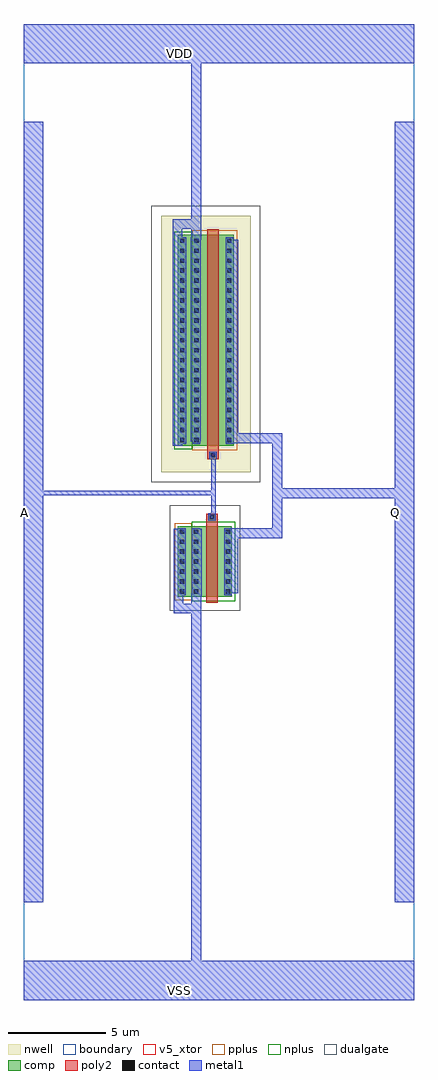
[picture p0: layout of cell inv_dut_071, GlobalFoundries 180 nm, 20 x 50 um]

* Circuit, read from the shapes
.subckt inv_dut_071 A Q VDD VSS
XM1 Q A VSS VSS nfet_05v0 w=3.6u l=0.6u
XM2 Q A VDD VDD pfet_05v0 w=10.8u l=0.6u
.ends

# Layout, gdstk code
from math import pi, radians
import gdstk
lib = gdstk.Library(unit=1e-6, precision=1e-09)
def R(c, l, rs):  # rectangles x0, y0, x1, y1
    for r in rs: c.add(gdstk.rectangle(r[:2], r[2:], *l))
def A(c, l, x, y, w, h, nx, ny, dx, dy):  # array of equal rectangles
    R(c, l, [(x+i*dx, y+j*dy, x+i*dx+w, y+j*dy+h) for i in range(nx) for j in range(ny)])
boundary = (0, 0)
nwell = (21, 0)
comp = (22, 0)
poly2 = (30, 0)
pplus = (31, 0)
nplus = (32, 0)
contact = (33, 0)
metal1 = (34, 0)
dualgate = (55, 0)
v5_xtor = (112, 1)

nfet = lib.new_cell('nfet')
R(nfet, comp, [(-0.42,0,2.35,3.6)])
R(nfet, poly2, [(0.31,-0.3,0.91,4.26)])
R(nfet, pplus, [(1.64,-0.17,2.52,3.77)])
R(nfet, nplus, [(-0.59,-0.24,1.64,3.84)])
A(nfet, contact, -0.32, 0.16, 0.22, 0.22, 1, 7, 0, 0.51)
A(nfet, contact, 1.32, 0.16, 0.22, 0.22, 1, 7, 0, 0.51)
A(nfet, contact, 2.03, 0.16, 0.22, 0.22, 1, 7, 0, 0.51)
R(nfet, contact, [(0.5,3.97,0.72,4.19)])
R(nfet, metal1, [(-0.4,0.08,-0.02,3.52), (1.24,0.08,1.62,3.52), (1.95,0.08,2.33,3.52), (0.42,3.89,0.8,4.27)])
R(nfet, dualgate, [(-0.84,-0.71,2.77,4.68)])
R(nfet, v5_xtor, [(-0.84,-0.71,2.77,4.68)])

pfet = lib.new_cell('pfet')
R(pfet, nwell, [(-1.32,-0.99,3.27,12.17)])
R(pfet, comp, [(-0.46,0,2.41,10.8)])
R(pfet, poly2, [(0.31,-0.3,0.91,11.48)])
R(pfet, pplus, [(-0.63,-0.24,1.68,11.04)])
R(pfet, nplus, [(1.68,-0.17,2.58,10.97)])
A(pfet, contact, -0.34, 0.19, 0.22, 0.22, 1, 21, 0, 0.51)
A(pfet, contact, 1.34, 0.19, 0.22, 0.22, 1, 21, 0, 0.51)
A(pfet, contact, 2.07, 0.19, 0.22, 0.22, 1, 21, 0, 0.51)
R(pfet, contact, [(0.5,11.18,0.72,11.4)])
R(pfet, metal1, [(-0.42,0.11,-0.04,10.69), (1.26,0.11,1.64,10.69), (1.99,0.11,2.37,10.69), (0.42,11.1,0.8,11.48)])
R(pfet, dualgate, [(-1.82,-1.49,3.77,12.67)])
R(pfet, v5_xtor, [(-1.82,-1.49,3.77,12.67)])

inv_dut_071 = lib.new_cell('inv_dut_071')
R(inv_dut_071, boundary, [(-10,-25,10,25)])
R(inv_dut_071, metal1, [(-10,-25,10,-23), (-10,-20,-9,20), (9,-20,10,20), (-10,23,10,25)])
inv_dut_071.add(gdstk.FlexPath([(-1.275,14.76),(-2.13,14.76),(-2.13,3.405),(-2.13,3.405)], 0.5, ends="flush", simple_path=True, layer=34, datatype=0))  # metal1
inv_dut_071.add(gdstk.FlexPath([(0.73,-0.995),(0.73,-4.17)], 0.5, ends="flush", simple_path=True, layer=34, datatype=0))  # metal1
inv_dut_071.add(gdstk.FlexPath([(-2.075,-0.855),(-2.075,-4.94),(-0.93,-4.94)], 0.5, ends="flush", simple_path=True, layer=34, datatype=0))  # metal1
inv_dut_071.add(gdstk.FlexPath([(-1.14,-4.32),(-1.14,-0.855)], 0.5, ends="flush", simple_path=True, layer=34, datatype=0))  # metal1
inv_dut_071.add(gdstk.FlexPath([(0.745,13.95),(0.745,3.655)], 0.5, ends="flush", simple_path=True, layer=34, datatype=0))  # metal1
inv_dut_071.add(gdstk.FlexPath([(-1.195,14.08),(-1.195,3.63)], 0.5, ends="flush", simple_path=True, layer=34, datatype=0))  # metal1
inv_dut_071.add(gdstk.FlexPath([(-0.27,2.895),(-0.27,-0.27)], 0.23, ends="flush", simple_path=True, layer=34, datatype=0))  # metal1
inv_dut_071.add(gdstk.FlexPath([(-0.3,0.965),(-9.205,0.965)], 0.23, ends="flush", simple_path=True, layer=34, datatype=0))  # metal1
inv_dut_071.add(gdstk.FlexPath([(0.545,-1.085),(2.99,-1.085),(2.99,3.775),(0.485,3.775)], 0.5, ends="flush", simple_path=True, layer=34, datatype=0))  # metal1
inv_dut_071.add(gdstk.FlexPath([(2.99,0.965),(9.175,0.965)], 0.5, ends="flush", simple_path=True, layer=34, datatype=0))  # metal1
inv_dut_071.add(gdstk.FlexPath([(-1.17,13.945),(-1.17,23.315)], 0.5, ends="flush", simple_path=True, layer=34, datatype=0))  # metal1
inv_dut_071.add(gdstk.FlexPath([(-1.17,-4.195),(-1.17,-23.305)], 0.5, ends="flush", simple_path=True, layer=34, datatype=0))  # metal1
inv_dut_071.add(gdstk.Reference(nfet, (0.245,-4.34), rotation=pi, x_reflection=True))
inv_dut_071.add(gdstk.Reference(pfet, (0.3,14.195), rotation=pi))
inv_dut_071.add(gdstk.Label('VDD', (-2,23.5), layer=34, texttype=10))
inv_dut_071.add(gdstk.Label('VSS', (-2,-24.5), layer=34, texttype=10))
inv_dut_071.add(gdstk.Label('A', (-9.97,0), layer=34, texttype=10))
inv_dut_071.add(gdstk.Label('Q', (9.03,0), layer=34, texttype=10))

lib.write_gds('inv_dut_071.gds')
